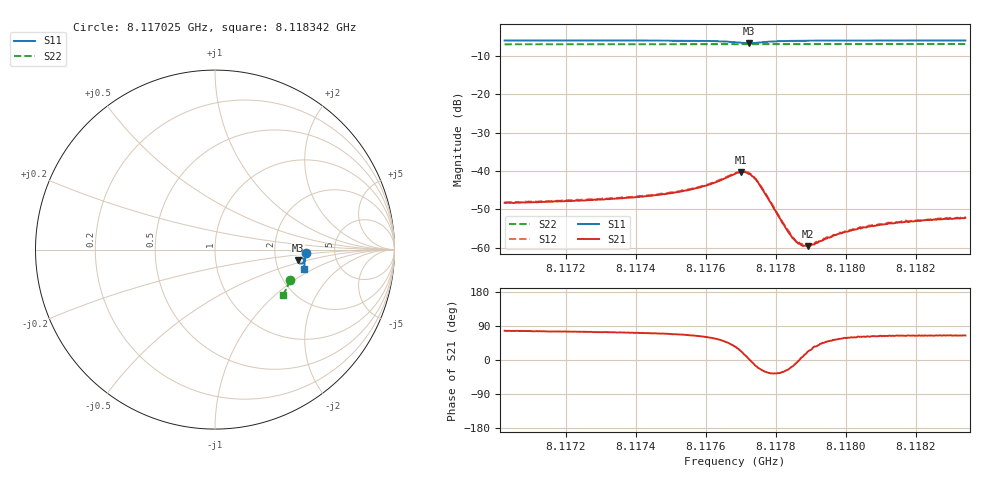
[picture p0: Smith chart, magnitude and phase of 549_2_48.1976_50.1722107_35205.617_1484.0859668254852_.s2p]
#  HZ  S  RI  R  50.00
! Rohde & Schwarz Vector Network Analyzer
! Rohde-Schwarz,ZNB20-2Port,1311601062101988,3.16
! Created: UTC 3/20/2024, 12:00:42 PM
! freq[Hz]  re:S11  im:S11  re:S21  im:S21  re:S12  im:S12  re:S22  im:S22
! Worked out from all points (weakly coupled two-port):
!   401 points, 8.117025 GHz to 8.118342 GHz, reference 50 ohm
!   highest |S21| = -40.23 dB at 8.1177 GHz (marker M1); lowest = -59.6 dB at 8.117891 GHz (marker M2)
!   lowest |S11| = -6.6 dB at 8.117723 GHz (marker M3), VSWR 2.75, Z = 134 - j20.5 ohm
!   |S11| at or under -10 dB: nowhere
!   |S22| runs from -6.9 to -6.8 dB; largest |S21 - S12| = 0.00033
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8.1170251e9  0.5064 -0.0174  0.000856 0.00377  0.000909 0.00379  0.4182 -0.1702
8.1172458e9  0.505 -0.0352  0.00111 0.00399  0.00115 0.00409  0.4126 -0.1847
8.1173775e9  0.5035 -0.0465  0.00137 0.00428  0.00143 0.00436  0.4091 -0.1931
8.1174664e9  0.5017 -0.0549  0.00168 0.00462  0.00173 0.0047  0.4066 -0.1988
8.1175817e9  0.4966 -0.068  0.00278 0.00544  0.00284 0.00553  0.403 -0.2064
8.1176311e9  0.4907 -0.075  0.00407 0.00598  0.00422 0.00607  0.4013 -0.2096
8.1176838e9  0.4741 -0.0784  0.00752 0.00531  0.00767 0.0054  0.3991 -0.2127
8.1177002e9  0.4667 -0.0739  0.00892 0.00392  0.00904 0.00395  0.3982 -0.2133
8.1177233e9  0.4621 -0.06  0.0092 0.000456  0.0095 0.000416  0.3976 -0.2141
8.1177365e9  0.4657 -0.0518  0.0083 -0.00135  0.00839 -0.00146  0.3975 -0.2145
8.1177496e9  0.472 -0.0469  0.0067 -0.00251  0.00675 -0.00251  0.3974 -0.2151
8.1178254e9  0.4951 -0.0556  0.00168 -0.000956  0.00169 -0.000996  0.3961 -0.2205
8.1178484e9  0.497 -0.0597  0.00127 -0.000388  0.00134 -0.000403  0.3954 -0.2219
8.1178649e9  0.4978 -0.0624  0.00113 -5.17e-05  0.0012 -9.02e-05  0.3949 -0.223
8.1178781e9  0.4982 -0.0642  0.00104 0.000169  0.00106 0.000145  0.3945 -0.224
8.1178913e9  0.4986 -0.066  0.000976 0.000391  0.000981 0.000373  0.3941 -0.2249
8.1179044e9  0.4986 -0.0679  0.000958 0.000547  0.000959 0.000526  0.3937 -0.2256
8.1179703e9  0.4989 -0.0755  0.000862 0.00118  0.000879 0.00118  0.3915 -0.2298
8.1180065e9  0.4985 -0.0791  0.000836 0.0014  0.000894 0.00142  0.3903 -0.2321
8.118046e9  0.4982 -0.0828  0.000889 0.0016  0.000874 0.00158  0.3889 -0.2347
8.1181251e9  0.4973 -0.0898  0.000894 0.00187  0.000926 0.0019  0.3863 -0.2394
8.1183424e9  0.494 -0.1074  0.00105 0.00223  0.00107 0.00226  0.3785 -0.2528
